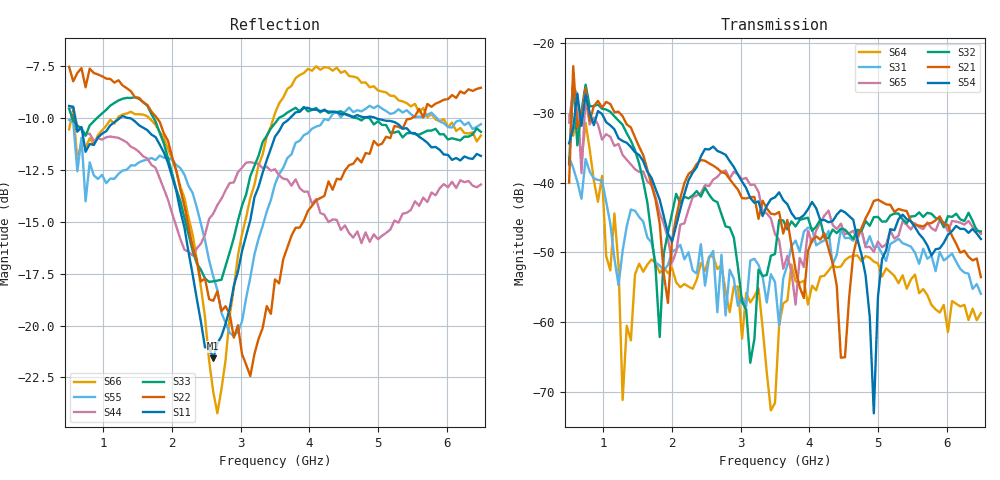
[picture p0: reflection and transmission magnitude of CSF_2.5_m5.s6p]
!Keysight Technologies,M9804A,MY58100912,A.14.10.03
!Date: Thursday, April 27, 2023 10:28:33
!Correction: S11(C  6-Port  )
!S12(C  6-Port  )
!S13(C  6-Port  )
!S14(C  6-Port  )
!S15(C  6-Port  )
!S16(C  6-Port  )
!S21(C  6-Port  )
!S22(C  6-Port  )
!S23(C  6-Port  )
!S24(C  6-Port  )
!S25(C  6-Port  )
!S26(C  6-Port  )
!S31(C  6-Port  )
!S32(C  6-Port  )
!S33(C  6-Port  )
!S34(C  6-Port  )
!S35(C  6-Port  )
!S36(C  6-Port  )
!S41(C  6-Port  )
!S42(C  6-Port  )
!S43(C  6-Port  )
!S44(C  6-Port  )
!S45(C  6-Port  )
!S46(C  6-Port  )
!S51(C  6-Port  )
!S52(C  6-Port  )
!S53(C  6-Port  )
!S54(C  6-Port  )
!S55(C  6-Port  )
!S56(C  6-Port  )
!S61(C  6-Port  )
!S62(C  6-Port  )
!S63(C  6-Port  )
!S64(C  6-Port  )
!S65(C  6-Port  )
!S66(C  6-Port  )
!S6P File: Measurement: :
# Hz S  RI  R 50
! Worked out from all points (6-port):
!   101 points, 500 MHz to 6.5 GHz, reference 50 ohm
!   strongest paths, dB at 500 MHz, 2 GHz, 3.5 GHz, 5 GHz, 6.5 GHz:
!     S54: -34.4, -48.5, -42.1, -56.4, -48.1
!     S21: -40.0, -48.2, -44.6, -42.4, -53.6
!     S32: -37.4, -44.4, -50.3, -44.9, -47.0
!     S65: -31.4, -51.5, -47.4, -48.5, -47.4
!     S31: -36.3, -49.9, -54.3, -49.1, -56.0
!     S64: -30.3, -52.3, -71.6, -51.6, -58.7
!   lowest |S11| = -21.6 dB at 2.6 GHz (marker M1), VSWR 1.18, Z = 42.6 + j2.04 ohm
!   |S11| at or under -10 dB: 587.8 MHz to 1.236 GHz (647.7 MHz wide, 71 % of centre); 1.398 GHz to 3.715 GHz (2.317 GHz wide, 90.6 % of centre); 4.975 GHz to end of sweep
